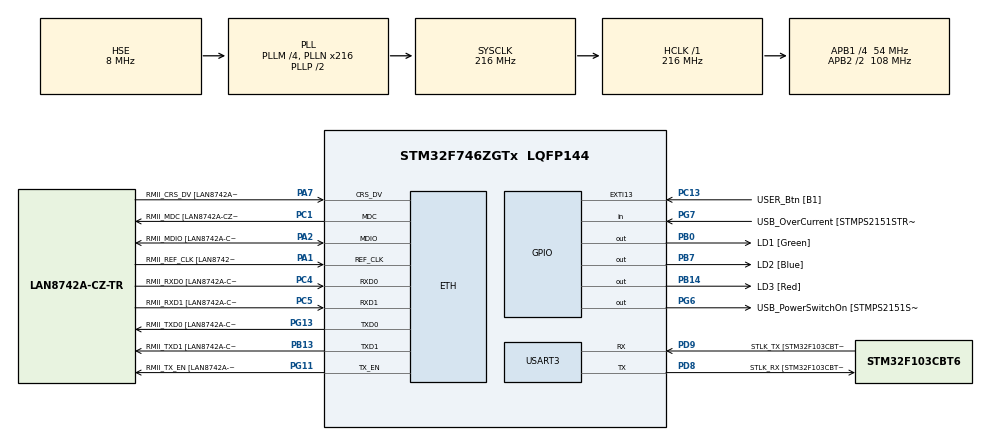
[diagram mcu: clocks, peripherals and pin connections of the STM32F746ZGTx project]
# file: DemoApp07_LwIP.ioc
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ETH.MediaInterface=HAL_ETH_RMII_MODE
ETH.PHY_Name=LAN8742A_PHY_ADDRESS
ETH.PHY_Value=0
ETH.PhyAddress=0
FREERTOS.Tasks01=defaultTask,0,256,StartDefaultTask,Default,NULL,Dynamic,NULL,NULL;udpechoTask,3,1024,StartUdpEcho,Default,NULL,Dynamic,NULL,NULL;tcpechoTask,3,1024,StartTcpEcho,Default,NULL,Dynamic,NULL,NULL
FREERTOS.configTOTAL_HEAP_SIZE=25360
FREERTOS.configUSE_NEWLIB_REENTRANT=1
LWIP.BSP.number=1
LWIP.GATEWAY_ADDRESS=192.168.001.001
LWIP.IP_ADDRESS=192.168.001.066
LWIP.LWIP_DHCP=0
LWIP.NETMASK_ADDRESS=255.255.255.000
LWIP.Version=v2.1.2_Cube
LWIP0.BSP.STBoard=false
LWIP0.BSP.api=BSP_COMPONENT_DRIVER
LWIP0.BSP.component=LAN8742
LWIP0.BSP.instance=LAN8742
LWIP0.BSP.name=Driver_PHY
LWIP0.BSP.semaphore=S_LAN8742
LWIP0.BSP.solution=LAN8742
Mcu.Family=STM32F7
Mcu.Name=STM32F746ZGTx
Mcu.Package=LQFP144
NVIC.ETH_IRQn=true\:5\:0\:false\:false\:true\:true\:false\:true\:true
NVIC.PriorityGroup=NVIC_PRIORITYGROUP_4
NVIC.TIM6_DAC_IRQn=true\:15\:0\:false\:false\:true\:false\:false\:true\:true
NVIC.TimeBase=TIM6_DAC_IRQn
NVIC.TimeBaseIP=TIM6
PA1.GPIO_Label=RMII_REF_CLK [LAN8742A-CZ-TR_REFCLK0]
PA1.Mode=RMII
PA1.Signal=ETH_REF_CLK
PA10.GPIO_Label=USB_ID
PA10.Signal=USB_OTG_FS_ID
PA11.GPIO_Label=USB_DM
PA11.Signal=USB_OTG_FS_DM
PA12.GPIO_Label=USB_DP
PA12.Signal=USB_OTG_FS_DP
PA13.GPIO_Label=TMS
PA13.Mode=Serial_Wire
PA13.Signal=SYS_JTMS-SWDIO
PA14.GPIO_Label=TCK
PA14.Mode=Serial_Wire
PA14.Signal=SYS_JTCK-SWCLK
PA2.GPIO_Label=RMII_MDIO [LAN8742A-CZ-TR_MDIO]
PA2.Mode=RMII
PA2.Signal=ETH_MDIO
PA7.GPIO_Label=RMII_CRS_DV [LAN8742A-CZ-TR_CRS_DV]
PA7.Mode=RMII
PA7.Signal=ETH_CRS_DV
PA8.GPIO_Label=USB_SOF [TP1]
PA8.Signal=USB_OTG_FS_SOF
PA9.GPIO_Label=USB_VBUS
PA9.Signal=USB_OTG_FS_VBUS
PB0.GPIO_Label=LD1 [Green]
PB0.Signal=GPIO_Output
PB13.GPIO_Label=RMII_TXD1 [LAN8742A-CZ-TR_TXD1]
PB13.Mode=RMII
PB13.Signal=ETH_TXD1
PB14.GPIO_Label=LD3 [Red]
PB14.Signal=GPIO_Output
PB3.GPIO_Label=SW0
PB3.Signal=SYS_JTDO-SWO
PB7.GPIO_Label=LD2 [Blue]
PB7.Signal=GPIO_Output
PC1.GPIO_Label=RMII_MDC [LAN8742A-CZ-TR_MDC]
PC1.Mode=RMII
PC1.Signal=ETH_MDC
PC13.GPIO_Label=USER_Btn [B1]
PC13.Signal=GPXTI13
PC14/OSC32_IN.Mode=LSE-External-Oscillator
PC14/OSC32_IN.Signal=RCC_OSC32_IN
PC15/OSC32_OUT.Mode=LSE-External-Oscillator
PC15/OSC32_OUT.Signal=RCC_OSC32_OUT
PC4.GPIO_Label=RMII_RXD0 [LAN8742A-CZ-TR_RXD0]
PC4.Mode=RMII
PC4.Signal=ETH_RXD0
PC5.GPIO_Label=RMII_RXD1 [LAN8742A-CZ-TR_RXD1]
PC5.Mode=RMII
PC5.Signal=ETH_RXD1
PD8.GPIO_Label=STLK_RX [STM32F103CBT6_PA3]
PD8.Mode=Asynchronous
PD8.Signal=USART3_TX
PD9.GPIO_Label=STLK_TX [STM32F103CBT6_PA2]
PD9.Mode=Asynchronous
PD9.Signal=USART3_RX
PG11.GPIO_Label=RMII_TX_EN [LAN8742A-CZ-TR_TXEN]
PG11.Mode=RMII
PG11.Signal=ETH_TX_EN
PG13.GPIO_Label=RMII_TXD0 [LAN8742A-CZ-TR_TXD0]
PG13.Mode=RMII
PG13.Signal=ETH_TXD0
PG6.GPIO_Label=USB_PowerSwitchOn [STMPS2151STR_EN]
PG6.Signal=GPIO_Output
PG7.GPIO_Label=USB_OverCurrent [STMPS2151STR_FAULT]
PG7.Signal=GPIO_Input
PH0/OSC_IN.GPIO_Label=MCO [STM32F103CBT6_PA8]
PH0/OSC_IN.Mode=HSE-External-Clock-Source
PH0/OSC_IN.Signal=RCC_OSC_IN
PH1/OSC_OUT.Mode=HSE-External-Clock-Source
PH1/OSC_OUT.Signal=RCC_OSC_OUT
ProjectManager.HeapSize=0x400
ProjectManager.StackSize=0x400
ProjectManager.TargetToolchain=STM32CubeIDE
RCC.48MHZClocksFreq_Value=24000000
RCC.AHBFreq_Value=216000000
RCC.APB1CLKDivider=RCC_HCLK_DIV4
RCC.APB1Freq_Value=54000000
RCC.APB1TimFreq_Value=108000000
RCC.APB2CLKDivider=RCC_HCLK_DIV2
RCC.APB2Freq_Value=108000000
RCC.APB2TimFreq_Value=216000000
RCC.CortexFreq_Value=216000000
RCC.HCLKFreq_Value=216000000
RCC.HSE_VALUE=8000000
RCC.HSI_VALUE=16000000
RCC.PLLM=4
RCC.PLLMUL=RCC_PLL_MUL9
RCC.PLLN=216
RCC.PLLQ=3
RCC.PLLSourceVirtual=RCC_PLLSOURCE_HSE
RCC.PRESCALERUSB=RCC_USBCLKSOURCE_PLL_DIV1_5
RCC.SYSCLKFreq_VALUE=216000000
RCC.SYSCLKSource=RCC_SYSCLKSOURCE_PLLCLK
RCC.SYSCLKSourceVirtual=RCC_SYSCLKSOURCE_PLLCLK
RCC.USBFreq_Value=144000000
RCC.VCOOutputFreq_Value=432000000
USART3.VirtualMode-Asynchronous=VM_ASYNC
VP_FREERTOS_VS_CMSIS_V1.Mode=CMSIS_V1
VP_LWIP_VS_Enabled.Mode=Enabled
VP_SYS_VS_tim6.Mode=TIM6
board=NUCLEO-F746ZG

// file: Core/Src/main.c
/* USER CODE BEGIN Header */
/**
  ******************************************************************************
  * @file           : main.c
  * @brief          : Main program body
  ******************************************************************************
  * @attention
  *
  * Copyright (c) 2023 STMicroelectronics.
  * All rights reserved.
  *
  * This software is licensed under terms that can be found in the LICENSE file
  * in the root directory of this software component.
  * If no LICENSE file comes with this software, it is provided AS-IS.
  *
  ******************************************************************************
  */
/* USER CODE END Header */
#include "main.h"
#include "cmsis_os.h"
#include "lwip.h"
#include "usart.h"
#include "gpio.h"

void SystemClock_Config(void);
void MX_FREERTOS_Init(void);

int main(void)
{

  /* MCU Configuration--------------------------------------------------------*/

  /* Reset of all peripherals, Initializes the Flash interface and the Systick. */
  HAL_Init();

  /* Configure the system clock */
  SystemClock_Config();

  /* Initialize all configured peripherals */
  MX_GPIO_Init();
  MX_USART3_UART_Init();

  /* Call init function for freertos objects (in freertos.c) */
  MX_FREERTOS_Init();

  /* Start scheduler */
  osKernelStart();

  /* We should never get here as control is now taken by the scheduler */
  /* Infinite loop */
  while (1)
  {

  }
}

void SystemClock_Config(void)
{
  RCC_OscInitTypeDef RCC_OscInitStruct = {0};
  RCC_ClkInitTypeDef RCC_ClkInitStruct = {0};

  /** Configure LSE Drive Capability
  */
  HAL_PWR_EnableBkUpAccess();

  /** Configure the main internal regulator output voltage
  */
  __HAL_RCC_PWR_CLK_ENABLE();
  __HAL_PWR_VOLTAGESCALING_CONFIG(PWR_REGULATOR_VOLTAGE_SCALE1);

  /** Initializes the RCC Oscillators according to the specified parameters
  * in the RCC_OscInitTypeDef structure.
  */
  RCC_OscInitStruct.OscillatorType = RCC_OSCILLATORTYPE_HSE;
  RCC_OscInitStruct.HSEState = RCC_HSE_BYPASS;
  RCC_OscInitStruct.PLL.PLLState = RCC_PLL_ON;
  RCC_OscInitStruct.PLL.PLLSource = RCC_PLLSOURCE_HSE;
  RCC_OscInitStruct.PLL.PLLM = 4;
  RCC_OscInitStruct.PLL.PLLN = 216;
  RCC_OscInitStruct.PLL.PLLP = RCC_PLLP_DIV2;
  RCC_OscInitStruct.PLL.PLLQ = 3;
  if (HAL_RCC_OscConfig(&RCC_OscInitStruct) != HAL_OK)
  {
    Error_Handler();
  }

  /** Activate the Over-Drive mode
  */
  if (HAL_PWREx_EnableOverDrive() != HAL_OK)
  {
    Error_Handler();
  }

  /** Initializes the CPU, AHB and APB buses clocks
  */
  RCC_ClkInitStruct.ClockType = RCC_CLOCKTYPE_HCLK|RCC_CLOCKTYPE_SYSCLK
                              |RCC_CLOCKTYPE_PCLK1|RCC_CLOCKTYPE_PCLK2;
  RCC_ClkInitStruct.SYSCLKSource = RCC_SYSCLKSOURCE_PLLCLK;
  RCC_ClkInitStruct.AHBCLKDivider = RCC_SYSCLK_DIV1;
  RCC_ClkInitStruct.APB1CLKDivider = RCC_HCLK_DIV4;
  RCC_ClkInitStruct.APB2CLKDivider = RCC_HCLK_DIV2;

  if (HAL_RCC_ClockConfig(&RCC_ClkInitStruct, FLASH_LATENCY_7) != HAL_OK)
  {
    Error_Handler();
  }
}

void HAL_TIM_PeriodElapsedCallback(TIM_HandleTypeDef *htim)
{
  if (htim->Instance == TIM6) {
    HAL_IncTick();
  }
}

void Error_Handler(void)
{
  __disable_irq();
  while (1)
  {
  }
}

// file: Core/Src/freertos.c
/* USER CODE BEGIN Header */
/**
  ******************************************************************************
  * File Name          : freertos.c
  * Description        : Code for freertos applications
  ******************************************************************************
  * @attention
  *
  * Copyright (c) 2023 STMicroelectronics.
  * All rights reserved.
  *
  * This software is licensed under terms that can be found in the LICENSE file
  * in the root directory of this software component.
  * If no LICENSE file comes with this software, it is provided AS-IS.
  *
  ******************************************************************************
  */
/* USER CODE END Header */

#include "FreeRTOS.h"
#include "task.h"
#include "main.h"
#include "cmsis_os.h"

/* USER CODE BEGIN Includes */
#include "lwip/opt.h"
#include "lwip/api.h"
#include "lwip/sys.h"
#include <string.h>
#include <stdio.h>
/* USER CODE END Includes */

/* USER CODE BEGIN PD */
#define TCP_SERVER 0
/* USER CODE END PD */

osThreadId defaultTaskHandle;
osThreadId udpechoTaskHandle;
osThreadId tcpechoTaskHandle;
osSemaphoreId waitForLwIPHandle;

/* USER CODE BEGIN FunctionPrototypes */
//extern void tcpecho_init(void);
//extern void udpecho_init(void);
/* USER CODE END FunctionPrototypes */

void StartDefaultTask(void const * argument);
void StartUdpEcho(void const * argument);
void StartTcpEcho(void const * argument);

extern void MX_LWIP_Init(void);
void MX_FREERTOS_Init(void); /* (MISRA C 2004 rule 8.1) */

/* GetIdleTaskMemory prototype (linked to static allocation support) */
void vApplicationGetIdleTaskMemory( StaticTask_t **ppxIdleTaskTCBBuffer, StackType_t **ppxIdleTaskStackBuffer, uint32_t *pulIdleTaskStackSize );

/* USER CODE BEGIN GET_IDLE_TASK_MEMORY */
static StaticTask_t xIdleTaskTCBBuffer;
static StackType_t xIdleStack[configMINIMAL_STACK_SIZE];

void vApplicationGetIdleTaskMemory( StaticTask_t **ppxIdleTaskTCBBuffer, StackType_t **ppxIdleTaskStackBuffer, uint32_t *pulIdleTaskStackSize )
{
  *ppxIdleTaskTCBBuffer = &xIdleTaskTCBBuffer;
  *ppxIdleTaskStackBuffer = &xIdleStack[0];
  *pulIdleTaskStackSize = configMINIMAL_STACK_SIZE;
  /* place for user code */
}
/* USER CODE END GET_IDLE_TASK_MEMORY */

void MX_FREERTOS_Init(void) {

  /* Create the semaphores(s) */
  /* definition and creation of waitForLwIP */
  osSemaphoreDef(waitForLwIP);
  waitForLwIPHandle = osSemaphoreCreate(osSemaphore(waitForLwIP), 1);

  /* Create the thread(s) */
  /* definition and creation of defaultTask */
  osThreadDef(defaultTask, StartDefaultTask, osPriorityNormal, 0, 256);
  defaultTaskHandle = osThreadCreate(osThread(defaultTask), NULL);

  /* definition and creation of udpechoTask */
  osThreadDef(udpechoTask, StartUdpEcho, osPriorityRealtime, 0, 1024);
  udpechoTaskHandle = osThreadCreate(osThread(udpechoTask), NULL);

  /* definition and creation of tcpechoTask */
  osThreadDef(tcpechoTask, StartTcpEcho, osPriorityRealtime, 0, 1024);
  tcpechoTaskHandle = osThreadCreate(osThread(tcpechoTask), NULL);

}

void StartDefaultTask(void const * argument)
{
  /* init code for LWIP */
  MX_LWIP_Init();
  /* USER CODE BEGIN StartDefaultTask */

  /* Infinite loop */
  for(;;)
  {
	HAL_GPIO_TogglePin(LD1_GPIO_Port, LD1_Pin);
    osDelay(100);
  }
  /* USER CODE END StartDefaultTask */
}

void StartUdpEcho(void const * argument)
{
  /* USER CODE BEGIN StartUdpEcho */
  struct netconn *conn;
  struct netbuf *buf;
  char buffer[32];
  char response[64];
  err_t err;
  int msg_cnt = 0;
  LWIP_UNUSED_ARG(argument);

  osDelay(100);

#if LWIP_IPV6
  conn = netconn_new(NETCONN_UDP_IPV6);
  LWIP_ERROR("udpecho: invalid conn", (conn != NULL), return;);
  netconn_bind(conn, IP6_ADDR_ANY, 8);
#else /* LWIP_IPV6 */
  conn = netconn_new(NETCONN_UDP);
  LWIP_ERROR("udpecho: invalid conn", (conn != NULL), return;);
  netconn_bind(conn, IP_ADDR_ANY, 8);
#endif /* LWIP_IPV6 */
  /* Infinite loop */
  for(;;)
  {
	err = netconn_recv(conn, &buf);
	if (err == ERR_OK)
	{
	  HAL_GPIO_WritePin(LD2_GPIO_Port, LD2_Pin, 1);
	  /*  no need netconn_connect here, since the netbuf contains the address */
      if(netbuf_copy(buf, buffer, sizeof(buffer)) != buf->p->tot_len)
	  {
        LWIP_DEBUGF(LWIP_DBG_ON, ("netbuf_copy failed\n"));
	  }
	  else
	  {
		msg_cnt++;
		buffer[buf->p->tot_len] = '\0';
		int response_len = sprintf(response, "\r\nMessage #%03d: %s", msg_cnt, buffer);
		netbuf_ref(buf, response, response_len);
		err = netconn_send(conn, buf);

		if(err != ERR_OK)
		{
		  LWIP_DEBUGF(LWIP_DBG_ON, ("netconn_send failed: %d\n", (int)err));
		}
		else
		{
		  LWIP_DEBUGF(LWIP_DBG_ON, ("got %s\n", buffer));
		}
	  }
	  netbuf_delete(buf);
	  HAL_GPIO_WritePin(LD2_GPIO_Port, LD2_Pin, 0);
	}
  }
  /* USER CODE END StartUdpEcho */
}

void StartTcpEcho(void const * argument)
{
  /* USER CODE BEGIN StartTcpEcho */
  struct netconn *conn, *newconn;
  err_t err, accept_err;
  struct netbuf *buf;
  void *data;
  u16_t len;
  int msg_cnt = 0;
  LWIP_UNUSED_ARG(argument);

  osDelay(100);

  /* Create a new connection identifier. */
  conn = netconn_new(NETCONN_TCP);

  if (conn!=NULL)
  {
	/* Bind connection to well known port number 7. */
	err = netconn_bind(conn, NULL, 7);

	if (err == ERR_OK)
	{
	  /* Tell connection to go into listening mode. */
	  netconn_listen(conn);
      /* Infinite loop */
	  for(;;)
	  {

		/* Grab new connection. */
		accept_err = netconn_accept(conn, &newconn);

		/* Process the new connection. */
		if (accept_err == ERR_OK)
		{

		  while (netconn_recv(newconn, &buf) == ERR_OK)
	      {
			HAL_GPIO_WritePin(LD3_GPIO_Port, LD3_Pin, 1);
		    msg_cnt++;
		    do
		    {
			  netbuf_data(buf, &data, &len);
			  char prefix[32];
			  int prefix_len = sprintf(prefix, "\r\nMessage #%03d: ", msg_cnt);
			  netconn_write(newconn, prefix, prefix_len, NETCONN_COPY);
			  netconn_write(newconn, data, len, NETCONN_COPY);
			  char postfix[] = "\r\n";
			  netconn_write(newconn, postfix, 2, NETCONN_NOFLAG);
		    } while (netbuf_next(buf) >= 0);
            netbuf_delete(buf);
  		    HAL_GPIO_WritePin(LD3_GPIO_Port, LD3_Pin, 0);
		  }

		  /* Close connection and discard connection identifier. */
		  netconn_close(newconn);
		  netconn_delete(newconn);
		}
	  }
	}
    else
    {
      netconn_delete(newconn);
    }
  }
  /* USER CODE END StartTcpEcho */
}
